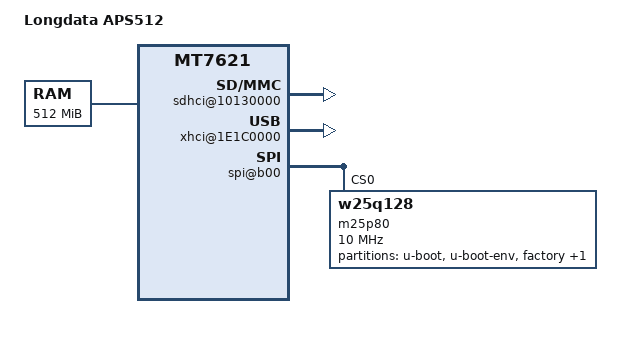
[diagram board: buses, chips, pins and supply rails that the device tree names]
/dts-v1/;

/include/ "mt7621.dtsi"

/ {
	compatible = "mediatek,mt7621-eval-board", "mediatek,mt7621-soc";
	model = "Longdata APS512";

	memory@0 {
		device_type = "memory";
		reg = <0x0 0x1c000000>, <0x20000000 0x4000000>;
	};

	chosen {
		bootargs = "console=ttyS0,57600";
	};

	sdhci@10130000 {
		status = "okay";
	};


	xhci@1E1C0000 {
		status = "okay";

		compatible = "xhci-platform";
		reg = <0x1E1C0000 4000>;

		interrupt-parent = <&gic>;
		interrupts = <22>;
	};

	palmbus@1E000000 {
		spi@b00 {
			status = "okay";

			m25p80@0 {
				#address-cells = <1>;
				#size-cells = <1>;
				compatible = "w25q128";
				reg = <0 0>;
				linux,modalias = "m25p80";
				spi-max-frequency = <10000000>;

				partition@0 {
					label = "u-boot";
					reg = <0x0 0x30000>;
					read-only;
				};

				partition@30000 {
					label = "u-boot-env";
					reg = <0x30000 0x10000>;
					read-only;
				};

				factory: partition@40000 {
					label = "factory";
					reg = <0x40000 0x10000>;
					read-only;
				};

				partition@50000 {
					label = "firmware";
					reg = <0x50000 0xfb0000>;
				};

			};
		};
	};

	ethernet@1e100000 {
		mtd-mac-address = <&factory 0xe000>;
	};

	pinctrl {
		state_default: pinctrl0 {
		gpio {
				ralink,group = "wdt", "rgmii2", "wdt rst", "jtag", "mdio";
				ralink,function = "gpio";
			};
		};
	};
};
